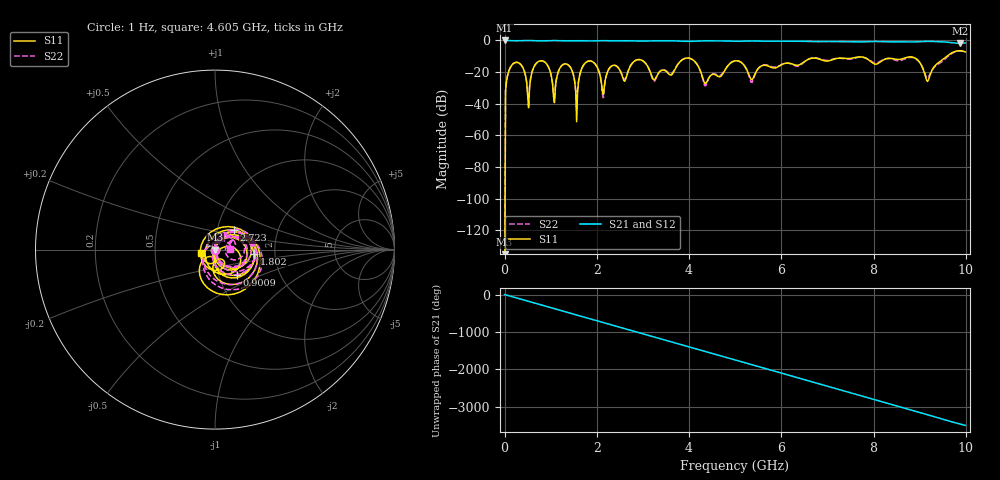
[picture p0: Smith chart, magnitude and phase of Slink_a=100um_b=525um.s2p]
! TouchStone data converted from IdEM dataset
# Hz S DB R 50
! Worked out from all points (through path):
!   500 points, 1 Hz to 9.99 GHz, reference 50 ohm
!   highest |S21| = 0.00 dB at 1 Hz (marker M1); lowest = -1.8 dB at 9.87 GHz (marker M2)
!   group delay of S21, straight-line fit = 975 ps
!   lowest |S11| = -178.0 dB at 1 Hz (marker M3), VSWR 1.00, Z = 50 + j1.26e-07 ohm
!   |S11| at or under -10 dB: start of sweep to 9.588 GHz
!   |S22| runs from -178.0 to -6.7 dB; largest |S21 - S12| = 3.9e-15
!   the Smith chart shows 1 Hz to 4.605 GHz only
!   S11 on the Smith chart (normalised r, x): 1 Hz: 1.00, +0.00; 900.9 MHz: 1.22, -0.36; 1.802 GHz: 1.55, -0.07; 2.723 GHz: 1.20, +0.27; 4.605 GHz: 0.86, -0.03
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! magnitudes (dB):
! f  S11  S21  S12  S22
! 1 Hz  -178.0  0.0  0.0  -178.0
! 60.06 MHz  -22.7  0.0  0.0  -22.7
! 140.1 MHz  -16.3  -0.1  -0.1  -16.3
! 520.5 MHz  -42.5  0.0  0.0  -42.9
! 900.9 MHz  -14.5  -0.2  -0.2  -14.5
! 1.081 GHz  -39.4  -0.1  -0.1  -38.3
! 1.381 GHz  -15.5  -0.2  -0.2  -15.5
! 1.562 GHz  -51.3  -0.1  -0.1  -43.7
! 1.682 GHz  -17.1  -0.2  -0.2  -17.1
! 1.802 GHz  -13.2  -0.3  -0.3  -13.2
! 2.142 GHz  -34.2  -0.1  -0.1  -36.2
! 2.723 GHz  -16.4  -0.3  -0.3  -16.3
! 3.343 GHz  -20.3  -0.2  -0.2  -20.4
! 3.964 GHz  -11.1  -0.6  -0.6  -11.1
! 4.605 GHz  -22.3  -0.3  -0.3  -21.7
! 5.005 GHz  -12.9  -0.5  -0.5  -12.8
! 5.365 GHz  -24.7  -0.3  -0.3  -26.4
! 6.667 GHz  -11.2  -0.8  -0.8  -11.1
! 8.328 GHz  -11.3  -0.9  -0.9  -11.4
! 9.169 GHz  -25.9  -0.6  -0.6  -23.9
! 9.87 GHz  -6.5  -1.8  -1.8  -6.7
! 9.99 GHz  -7.3  -1.6  -1.6  -7.4
